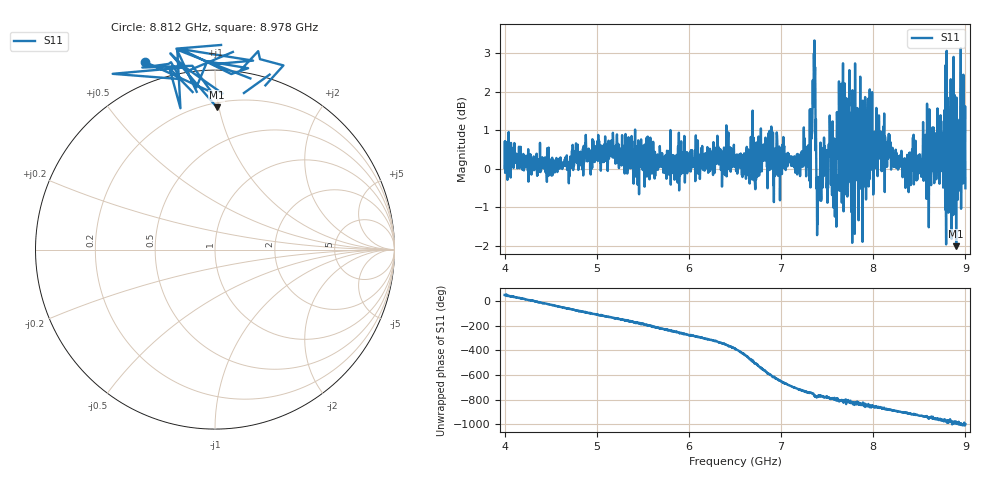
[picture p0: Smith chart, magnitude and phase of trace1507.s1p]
! Created with skrf 1.8.0 (http://scikit-rf.org).
# Hz S RI R 50.0
!freq ReS11 ImS11
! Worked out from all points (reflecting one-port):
!   1601 points, 4 GHz to 9 GHz, reference 50 ohm
!   lowest |S11| = -2.0 dB at 8.9 GHz (marker M1), VSWR 8.68, Z = 11.5 + j49.3 ohm
!   phase of S11 starts at 50 deg and turns -1050 deg over the sweep
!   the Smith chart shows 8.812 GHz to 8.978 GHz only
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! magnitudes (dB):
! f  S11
! 4 GHz  0.0
! 4.625 GHz  0.0
! 5.25 GHz  0.2
! 5.875 GHz  -0.2
! 6.5 GHz  0.1
! 6.725 GHz  0.4
! 6.888 GHz  0.6
! 6.922 GHz  -0.9
! 7.125 GHz  0.2
! 7.294 GHz  0.1
! 7.347 GHz  1.7
! 7.362 GHz  3.3
! 7.412 GHz  -0.3
! 7.538 GHz  0.8
! 7.578 GHz  0.7
! 7.65 GHz  1.1
! 7.75 GHz  0.4
! 7.784 GHz  0.0
! 7.931 GHz  0.7
! 7.997 GHz  0.4
! 8.056 GHz  0.6
! 8.375 GHz  0.0
! 8.766 GHz  1.2
! 8.788 GHz  -0.9
! 8.841 GHz  2.3
! 8.9 GHz  -2.0
! 8.972 GHz  0.8
! 9 GHz  -0.5
